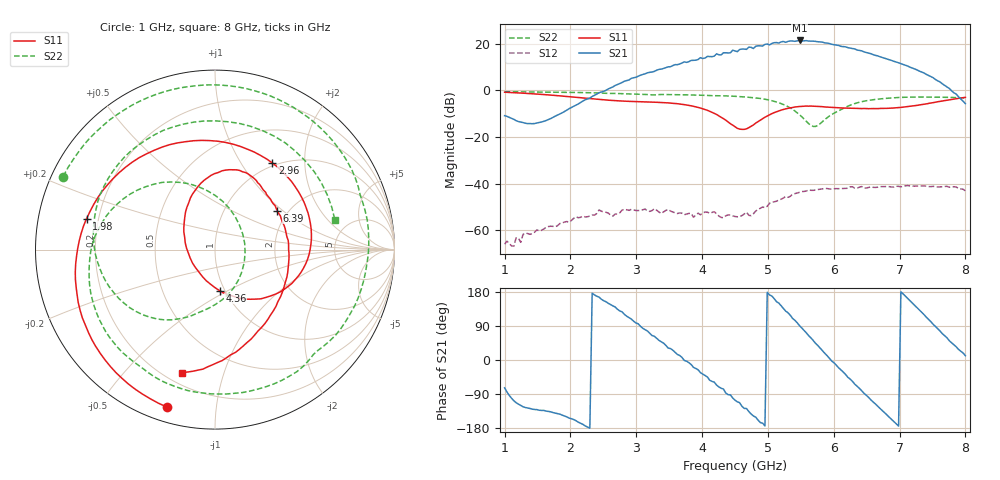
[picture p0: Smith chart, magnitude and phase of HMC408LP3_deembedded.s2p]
!Hittite Microwave Corporation
!12 Elizabeth Drive
!Chelmsford, MA 01824
!Tel: 978-250-3343
!Fax: 978-250-3373
!Device: HMC408LP3, 5.1-5.9 GHz GaAs InGap HBT MMIC Power Amplifier in Leadless LP3 SMT Package
!Misc: Input reference is the input pin of the device, output reference is the last component on output line, Vs=Vpd=5V, Room
# MHZ S MA R 50
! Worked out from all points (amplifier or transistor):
!   201 points, 1 GHz to 8 GHz, reference 50 ohm
!   highest |S21| = 21.5 dB at 5.48 GHz (marker M1)
!   |S21| within 3 dB of that: 4.796 GHz to 6.206 GHz (1.41 GHz wide, 25.6 % of centre) (the widest 1 of 2)
!   unconditionally stable (mu >= 1): start of sweep to end of sweep
!   at 2.155 GHz: K = 45.59, MAG = 5.1 dB, |S12| = -54.5 dB
!   at 4.5 GHz: K = 15.46, MAG = 20.7 dB, |S12| = -54.1 dB
!   at 8 GHz: K = 36.35, MAG = 0.1 dB, |S12| = -43.1 dB
!   S11 on the Smith chart (normalised r, x): 1 GHz: 0.07, -0.74; 1.98 GHz: 0.15, +0.12; 2.96 GHz: 0.95, +1.39; 4.36 GHz: 0.94, -0.46; 6.39 GHz: 1.75, +0.92; 8 GHz: 0.26, -0.73
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1000  0.917 -107.1  0.287 -73.5  0.0005013 131.8  0.939 154.3
1980  0.736 166.5  0.406 -153.2  0.00147 59.2  0.91 70.1
2190  0.692 145.1  0.593 -169.8  0.002011 47.0  0.899 51.9
2960  0.579 56.5  1.867 102.4  0.002726 -8.1  0.842 -18.5
3345  0.554 18.3  2.831 51.9  0.002448 -40.1  0.815 -52.7
3660  0.512 -8.7  3.697 12.0  0.002348 -37.1  0.808 -82.3
3975  0.419 -36.3  5.061 -33.3  0.002144 -54.4  0.792 -109.7
4360  0.23 -83.7  6.44 -87.2  0.002038 -62.2  0.764 -140.4
4500  0.166 -114.9  7.063 -106.0  0.001967 -52.9  0.748 -152.0
4815  0.199 150.7  8.87 -150.9  0.002581 -50.1  0.692 -179.3
5095  0.334 112.0  10.58 161.9  0.004065 -51.7  0.584 151.0
5305  0.414 93.1  11.31 124.7  0.005078 -69.5  0.448 122.8
5480  0.452 80.0  11.83 90.8  0.006496 -81.7  0.301 89.5
5690  0.46 66.2  11.41 51.2  0.007175 -103.3  0.169 11.4
5830  0.448 59.0  10.89 23.9  0.00771 -116.5  0.215 -53.0
5935  0.436 54.1  10.18 4.5  0.007698 -125.3  0.283 -82.0
6215  0.418 42.4  8.293 -45.7  0.00795 -145.7  0.46 -121.7
6390  0.409 32.2  7.201 -74.9  0.008378 -157.2  0.558 -141.7
6565  0.408 19.1  6.15 -105.4  0.008492 -170.9  0.624 -160.4
6845  0.415 -6.7  4.567 -151.2  0.008571 171.4  0.685 171.7
7335  0.497 -56.0  2.487 126.3  0.008915 136.5  0.723 117.8
8000  0.71 -105.2  0.52 11.3  0.007002 77.0  0.688 13.7
